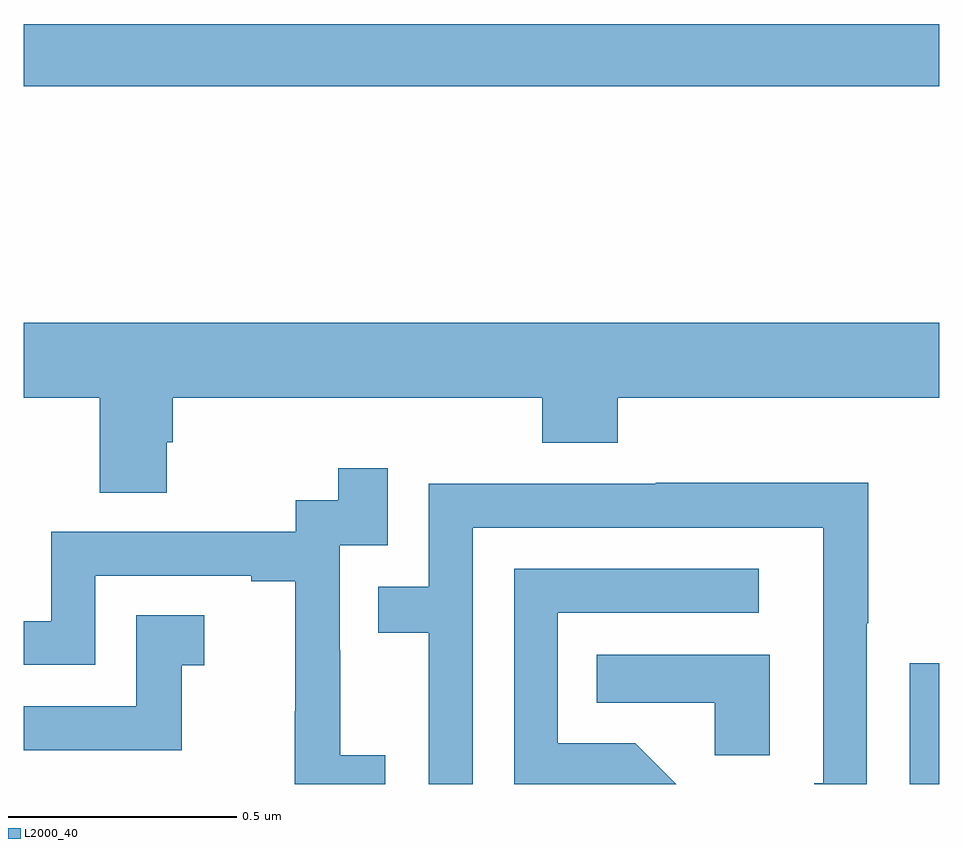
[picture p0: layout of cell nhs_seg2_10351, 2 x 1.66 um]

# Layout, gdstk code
import gdstk
lib = gdstk.Library(unit=1e-6, precision=1e-09)
def R(c, l, rs):  # rectangles x0, y0, x1, y1
    for r in rs: c.add(gdstk.rectangle(r[:2], r[2:], *l))
def P(c, l, *ps):  # polygons
    for p in ps: c.add(gdstk.Polygon(p, *l))
L2000_40 = (2000, 40)

nhs_seg2_10351 = lib.new_cell('nhs_seg2_10351')
R(nhs_seg2_10351, L2000_40, [(241.935,638.8,242,639.064), (240,640.324,242,640.46)])
P(nhs_seg2_10351, L2000_40, [(240.313,639.546),(240.326,639.546),(240.326,639.644),(241.133,639.644),(241.133,639.545),(241.298,639.545),(241.298,639.644),(242,639.644),(242,639.808),(240,639.808),(240,639.644),(240.166,639.644),(240.166,639.436),(240.313,639.436)],
  [(240.79,638.863),(240.692,638.863),(240.692,639.092),(240.69,639.092),(240.69,639.321),(240.795,639.321),(240.795,639.49),(240.687,639.49),(240.687,639.42),(240.594,639.42),(240.594,639.351),(240.06,639.351),(240.06,639.156),(240,639.156),(240,639.06),(240.156,639.06),(240.156,639.255),(240.497,639.255),(240.497,639.243),(240.593,639.243),(240.593,638.959),(240.592,638.959),(240.592,638.8),(240.79,638.8)],
  [(240.981,639.36),(241.746,639.36),(241.746,638.802),(241.727,638.802),(241.727,638.8),(241.842,638.8),(241.842,639.151),(241.845,639.151),(241.845,639.458),(241.381,639.458),(241.381,639.456),(240.885,639.456),(240.885,639.231),(240.775,639.231),(240.775,639.13),(240.885,639.13),(240.885,638.8),(240.981,638.8)],
  [(241.336,638.889),(241.167,638.889),(241.167,639.174),(241.606,639.174),(241.606,639.27),(241.071,639.27),(241.071,638.8),(241.425,638.8)],
  [(240.345,639.059),(240.394,639.059),(240.394,639.169),(240.246,639.169),(240.246,638.97),(240,638.97),(240,638.874),(240.345,638.874)],
  [(241.63,639.082),(241.252,639.082),(241.252,638.978),(241.509,638.978),(241.509,638.863),(241.63,638.863)])

lib.write_gds('nhs_seg2_10351.gds')
